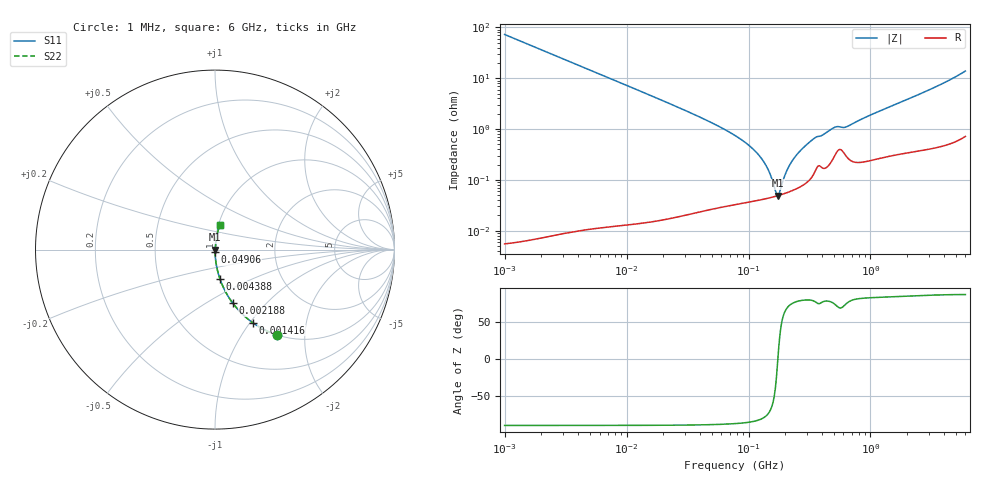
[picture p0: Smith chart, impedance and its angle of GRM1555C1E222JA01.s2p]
!Murata Part Number: GRM1555C1E222JA01
!These Parameters are Measured in Series Mode Connection
!Data Generated on Mar 30, 2021
!  o--ll--o
!Port1  Port2
!  o------o
!Operation Temp=25[degC], DC Bias Voltage=0[V]
!Freq. Start=1000[kHz] Stop=6[GHz] 401[Steps]
# Hz S RI R 50
!Freq.(Hz) S11(Real) S11(Imag) S21(Real) S21(Imag) S12(Real) S12(Imag) S22(Real) S22(Imag)
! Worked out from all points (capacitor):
!   401 points, 1 MHz to 6 GHz, reference 50 ohm
!   read as one part in series: C = 2.19 nF near 1.044 MHz
!   lowest |Z| = 48.9 mohm at 173.2 MHz (marker M1)
!   series resonance near 174 MHz, so ESL is about 380 pH
!   S11 on the Smith chart (normalised r, x): 1 MHz: 1.00, -1.46; 1.416 MHz: 1.00, -1.03; 2.188 MHz: 1.00, -0.67; 4.388 MHz: 1.00, -0.33; 49.06 MHz: 1.00, -0.03; 6 GHz: 1.01, +0.28
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1000000  0.3466 -0.4759  0.6534 0.4759  0.6534 0.4759  0.3466 -0.4759
1416205  0.2092 -0.4067  0.7908 0.4067  0.7908 0.4067  0.2092 -0.4067
2187931  0.0998 -0.2996  0.9002 0.2996  0.9002 0.2996  0.0998 -0.2996
4293785  0.028 -0.1647  0.972 0.1647  0.972 0.1647  0.028 -0.1647
4388193  0.0269 -0.1614  0.9731 0.1614  0.9731 0.1614  0.0269 -0.1614
1.843659e7  0.00167 -0.0389  0.9983 0.0389  0.9983 0.0389  0.00167 -0.0389
4.905945e7  0.000445 -0.0136  0.9996 0.0136  0.9996 0.0136  0.000445 -0.0136
7.745967e7  0.00038 -0.00747  0.9996 0.00747  0.9996 0.00747  0.00038 -0.00747
1.027698e8  0.000387 -0.00457  0.9996 0.00457  0.9996 0.00457  0.000387 -0.00457
1.277378e8  0.000413 -0.0026  0.9996 0.0026  0.9996 0.0026  0.000413 -0.0026
1.455431e8  0.000438 -0.00149  0.9996 0.00149  0.9996 0.00149  0.000438 -0.00149
1.658303e8  0.000473 -0.0004  0.9995 0.0004  0.9995 0.0004  0.000473 -0.0004
1.732027e8  0.000487 -3.92e-05  0.9995 3.92e-05  0.9995 3.92e-05  0.000487 -3.92e-05
1.809028e8  0.000502 0.000322  0.9995 -0.000322  0.9995 -0.000322  0.000502 0.000322
2.016844e8  0.000549 0.00123  0.9995 -0.00123  0.9995 -0.00123  0.000549 0.00123
2.297971e8  0.000622 0.00235  0.9994 -0.00235  0.9994 -0.00235  0.000622 0.00235
2.675853e8  0.000749 0.00373  0.9993 -0.00373  0.9993 -0.00373  0.000749 0.00373
3.325952e8  0.00119 0.00599  0.9988 -0.00599  0.9988 -0.00599  0.00119 0.00599
5.027802e8  0.00292 0.0102  0.9971 -0.0102  0.9971 -0.0102  0.00292 0.0102
6.386712e8  0.00294 0.0107  0.9971 -0.0107  0.9971 -0.0107  0.00294 0.0107
1.428092e9  0.00363 0.0269  0.9964 -0.0269  0.9964 -0.0269  0.00363 0.0269
6e9  0.0257 0.1343  0.9743 -0.1343  0.9743 -0.1343  0.0257 0.1343
